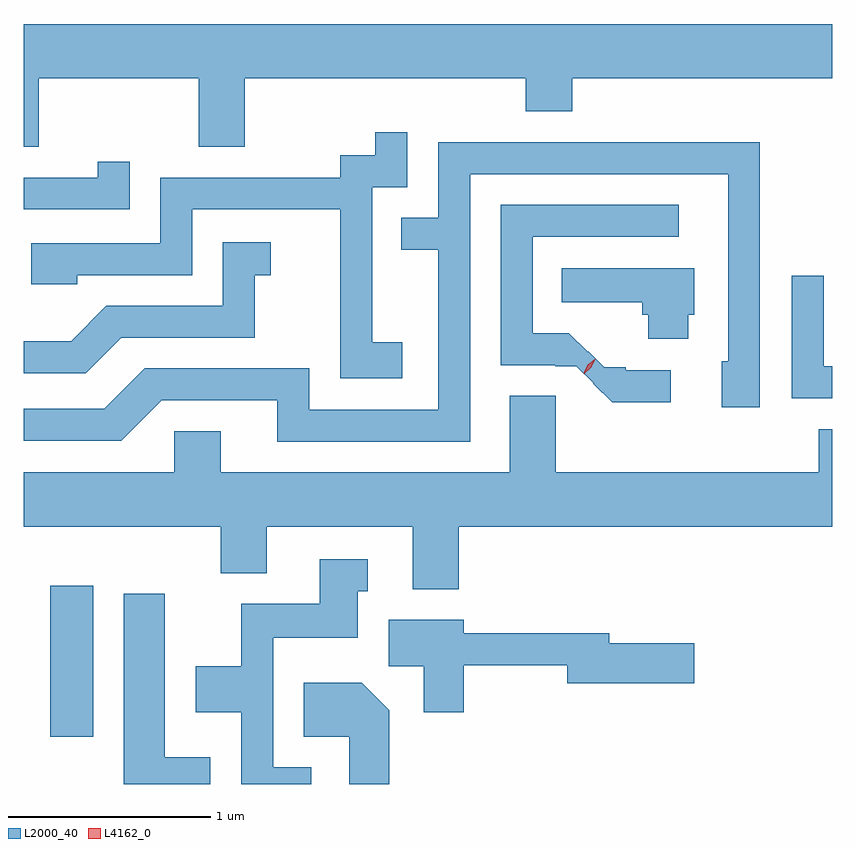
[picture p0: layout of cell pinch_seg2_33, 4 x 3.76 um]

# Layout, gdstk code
import gdstk
lib = gdstk.Library(unit=1e-6, precision=1e-09)
def R(c, l, rs):  # rectangles x0, y0, x1, y1
    for r in rs: c.add(gdstk.rectangle(r[:2], r[2:], *l))
def P(c, l, *ps):  # polygons
    for p in ps: c.add(gdstk.Polygon(p, *l))
L2000_40 = (2000, 40)
L4162_0 = (4162, 0)

pinch_seg2_33 = lib.new_cell('pinch_seg2_33')
R(pinch_seg2_33, L2000_40, [(823.206,1071.696,823.419,1072.444)])
P(pinch_seg2_33, L2000_40, [(823.149,1074.956),(823.941,1074.956),(823.941,1074.616),(824.169,1074.616),(824.169,1074.956),(825.561,1074.956),(825.561,1074.791),(825.789,1074.791),(825.789,1074.956),(827.076,1074.956),(827.076,1075.224),(823.076,1075.224),(823.076,1074.616),(823.149,1074.616)],
  [(824.949,1073.649),(824.799,1073.649),(824.799,1074.416),(824.974,1074.416),(824.974,1074.688),(824.816,1074.688),(824.816,1074.574),(824.641,1074.574),(824.641,1074.464),(823.751,1074.464),(823.751,1074.139),(823.111,1074.139),(823.111,1073.936),(823.339,1073.936),(823.339,1073.981),(823.909,1073.981),(823.909,1074.306),(824.641,1074.306),(824.641,1073.471),(824.949,1073.471)],
  [(825.284,1074.481),(826.561,1074.481),(826.561,1073.554),(826.531,1073.554),(826.531,1073.326),(826.719,1073.326),(826.719,1074.639),(825.126,1074.639),(825.126,1074.264),(824.943,1074.264),(824.943,1074.106),(825.126,1074.106),(825.126,1073.314),(824.489,1073.314),(824.489,1073.519),(823.674,1073.519),(823.474,1073.319),(823.076,1073.319),(823.076,1073.161),(823.557,1073.161),(823.757,1073.361),(824.331,1073.361),(824.331,1073.156),(825.284,1073.156)],
  [(823.599,1074.543),(823.441,1074.543),(823.441,1074.464),(823.076,1074.464),(823.076,1074.306),(823.599,1074.306)],
  [(826.278,1073.509),(826.056,1073.509),(826.056,1073.525),(825.948,1073.525),(825.869,1073.604),(825.866,1073.601),(825.772,1073.694),(825.594,1073.694),(825.594,1074.171),(826.318,1074.171),(826.318,1074.329),(825.436,1074.329),(825.436,1073.536),(825.705,1073.536),(825.705,1073.529),(825.811,1073.529),(825.896,1073.445),(825.895,1073.444),(825.987,1073.351),(826.278,1073.351)],
  [(823.557,1073.671),(824.219,1073.671),(824.219,1073.981),(824.298,1073.981),(824.298,1074.144),(824.061,1074.144),(824.061,1073.829),(823.484,1073.829),(823.309,1073.654),(823.076,1073.654),(823.076,1073.496),(823.382,1073.496)],
  [(826.364,1073.786),(826.394,1073.786),(826.394,1074.014),(825.738,1074.014),(825.738,1073.846),(826.136,1073.846),(826.136,1073.786),(826.166,1073.786),(826.166,1073.666),(826.364,1073.666)],
  [(827.076,1073.529),(827.034,1073.529),(827.034,1073.978),(826.876,1073.978),(826.876,1073.371),(827.076,1073.371)],
  [(825.229,1072.736),(827.076,1072.736),(827.076,1073.219),(827.011,1073.219),(827.011,1073.004),(825.709,1073.004),(825.709,1073.384),(825.481,1073.384),(825.481,1073.004),(824.049,1073.004),(824.049,1073.209),(823.821,1073.209),(823.821,1073.004),(823.076,1073.004),(823.076,1072.736),(824.051,1072.736),(824.051,1072.506),(824.279,1072.506),(824.279,1072.736),(825.001,1072.736),(825.001,1072.426),(825.229,1072.426)],
  [(824.498,1071.544),(824.309,1071.544),(824.309,1072.186),(824.729,1072.186),(824.729,1072.416),(824.778,1072.416),(824.778,1072.574),(824.541,1072.574),(824.541,1072.354),(824.151,1072.354),(824.151,1072.044),(823.926,1072.044),(823.926,1071.816),(824.151,1071.816),(824.151,1071.462),(824.498,1071.462)],
  [(823.999,1071.594),(823.774,1071.594),(823.774,1072.404),(823.571,1072.404),(823.571,1071.462),(823.999,1071.462)],
  [(825.254,1072.051),(825.766,1072.051),(825.766,1071.961),(826.394,1071.961),(826.394,1072.159),(825.974,1072.159),(825.974,1072.209),(825.254,1072.209),(825.254,1072.274),(824.881,1072.274),(824.881,1072.046),(825.056,1072.046),(825.056,1071.816),(825.254,1071.816)],
  [(824.884,1071.827),(824.747,1071.964),(824.461,1071.964),(824.461,1071.696),(824.686,1071.696),(824.686,1071.462),(824.884,1071.462)])
P(pinch_seg2_33, L4162_0, [(825.848,1073.493),(825.848,1073.494),(825.868,1073.536),(825.903,1073.566),(825.904,1073.566),(825.904,1073.566),(825.884,1073.524),(825.849,1073.493)],
  [(825.849,1073.499),(825.849,1073.5),(825.867,1073.537),(825.899,1073.562),(825.9,1073.562),(825.9,1073.562),(825.882,1073.525),(825.85,1073.499)])

lib.write_gds('pinch_seg2_33.gds')
